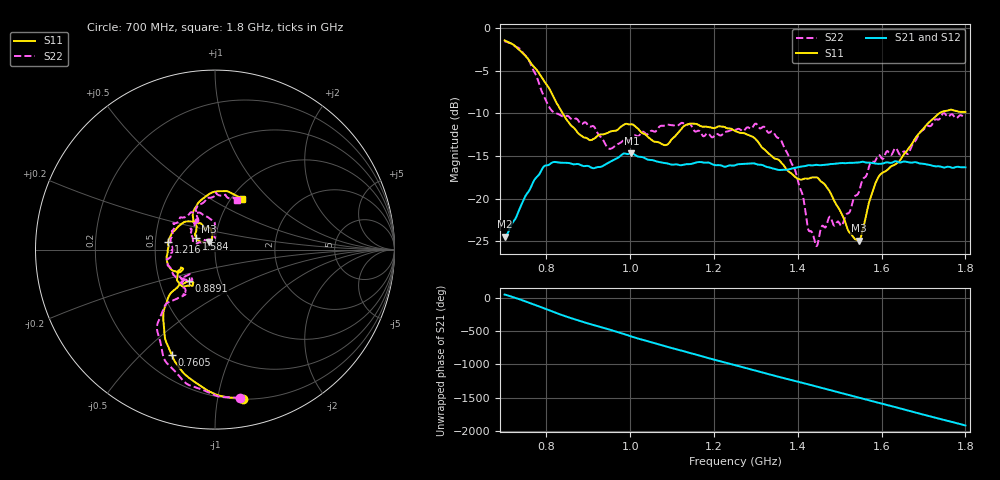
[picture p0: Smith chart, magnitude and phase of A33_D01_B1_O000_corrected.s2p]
! Created with skrf 1.9.0 (http://scikit-rf.org).
# Hz S RI R 50.0
!freq ReS11 ImS11 ReS21 ImS21 ReS12 ImS12 ReS22 ImS22
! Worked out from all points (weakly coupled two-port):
!   1601 points, 700 MHz to 1.8 GHz, reference 50 ohm
!   highest |S21| = -14.69 dB at 1.002 GHz (marker M1); lowest = -24.5 dB at 700.7 MHz (marker M2)
!   lowest |S11| = -25.0 dB at 1.545 GHz (marker M3), VSWR 1.12, Z = 46.5 + j4.18 ohm
!   |S11| at or under -10 dB: 838.8 MHz to 1.737 GHz (898.2 MHz wide, 69.7 % of centre)
!   |S22| runs from -25.6 to -1.5 dB; largest |S21 - S12| = 0.0037
!   S11 on the Smith chart (normalised r, x): 700 MHz: 0.20, -1.19; 760.5 MHz: 0.32, -0.62; 889.1 MHz: 0.71, -0.26; 1.216 GHz: 0.58, +0.05; 1.584 GHz: 0.81, +0.10; 1.8 GHz: 1.12, +0.71
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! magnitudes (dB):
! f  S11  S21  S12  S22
! 700 MHz  -1.4  -24.5  -24.3  -1.5
! 700.7 MHz  -1.5  -24.5  -24.2  -1.5
! 760.5 MHz  -4.0  -18.9  -18.8  -4.0
! 811.4 MHz  -7.5  -15.8  -15.8  -9.6
! 883.6 MHz  -12.6  -16.1  -16.0  -11.3
! 889.1 MHz  -12.8  -16.2  -16.1  -11.1
! 949.6 MHz  -12.2  -15.7  -15.8  -14.2
! 1.002 GHz  -11.3  -14.7  -14.8  -13.0
! 1.067 GHz  -13.4  -15.7  -15.6  -11.7
! 1.216 GHz  -11.5  -16.1  -16.1  -12.6
! 1.25 GHz  -12.1  -16.1  -16.0  -11.9
! 1.359 GHz  -15.7  -16.7  -16.6  -13.1
! 1.394 GHz  -17.5  -16.4  -16.4  -16.7
! 1.434 GHz  -17.5  -16.1  -16.1  -24.0
! 1.445 GHz  -17.5  -16.1  -16.1  -25.6
! 1.505 GHz  -21.8  -15.8  -15.8  -23.2
! 1.545 GHz  -25.0  -15.8  -15.7  -19.3
! 1.584 GHz  -18.4  -15.9  -15.9  -15.6
! 1.617 GHz  -16.5  -15.8  -15.8  -14.6
! 1.663 GHz  -14.2  -15.7  -15.7  -14.8
! 1.736 GHz  -10.0  -16.2  -16.3  -10.7
! 1.8 GHz  -9.9  -16.3  -16.3  -10.4
